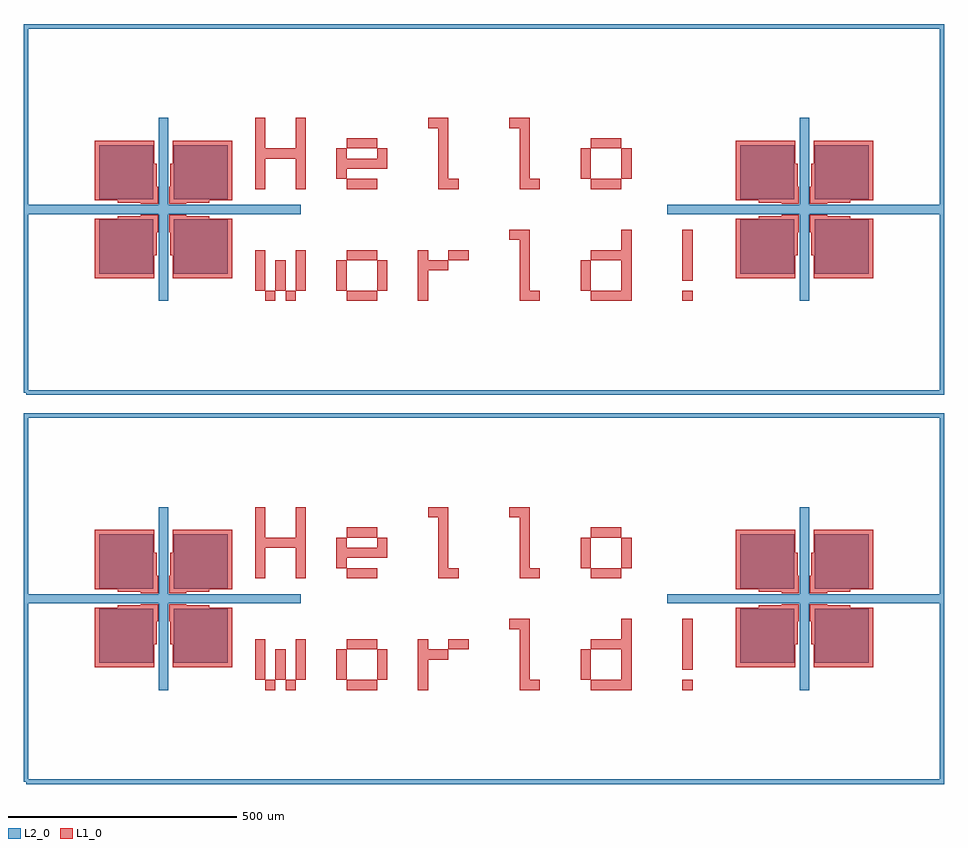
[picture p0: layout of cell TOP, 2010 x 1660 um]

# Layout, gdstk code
import gdstk
lib = gdstk.Library(unit=1e-6, precision=1e-09)
def R(c, l, rs):  # rectangles x0, y0, x1, y1
    for r in rs: c.add(gdstk.rectangle(r[:2], r[2:], *l))
def P(c, l, *ps):  # polygons
    for p in ps: c.add(gdstk.Polygon(p, *l))
L1_0 = (1, 0)
L2_0 = (2, 0)

cont_algn = lib.new_cell('CONT_ALGN')
P(cont_algn, L1_0, [(-12,-12),(-50,-12),(-50,-15),(-100,-15),(-100,-20),(-150,-20),(-150,-150),(-20,-150),(-20,-100),(-15,-100),(-15,-50),(-12,-50)],
  [(12,-12),(12,-50),(15,-50),(15,-100),(20,-100),(20,-150),(150,-150),(150,-20),(100,-20),(100,-15),(50,-15),(50,-12)],
  [(12,12),(12,50),(15,50),(15,100),(20,100),(20,150),(150,150),(150,20),(100,20),(100,15),(50,15),(50,12)],
  [(-12,12),(-50,12),(-50,15),(-100,15),(-100,20),(-150,20),(-150,150),(-20,150),(-20,100),(-15,100),(-15,50),(-12,50)])
R(cont_algn, L2_0, [(-140,-140,-22,-22), (22,-140,140,-22), (-140,22,-22,140), (22,22,140,140)])
P(cont_algn, L2_0, [(-10,-200),(-10,-10),(-300,-10),(-300,10),(-10,10),(-10,200),(10,200),(10,10),(300,10),(300,-10),(10,-10),(10,-200)])

example = lib.new_cell('EXAMPLE')
R(example, L1_0, [(22.222,-200,44.444,-177.778), (66.667,-200,88.889,-177.778), (933.333,-200,955.556,-177.778)])
P(example, L1_0, [(0,44.444),(22.222,44.444),(22.222,66.667),(22.222,88.889),(22.222,111.111),(44.444,111.111),(66.667,111.111),(88.889,111.111),(88.889,88.889),(88.889,66.667),(88.889,44.444),(111.111,44.444),(111.111,66.667),(111.111,88.889),(111.111,111.111),(111.111,133.333),(111.111,155.556),(111.111,177.778),(111.111,200),(88.889,200),(88.889,177.778),(88.889,155.556),(88.889,133.333),(66.667,133.333),(44.444,133.333),(22.222,133.333),(22.222,155.556),(22.222,177.778),(22.222,200),(0,200),(0,177.778),(0,155.556),(0,133.333),(0,111.111),(0,88.889),(0,66.667)],
  [(177.778,66.667),(200,66.667),(200,88.889),(222.222,88.889),(244.444,88.889),(266.667,88.889),(288.889,88.889),(288.889,111.111),(288.889,133.333),(266.667,133.333),(266.667,111.111),(244.444,111.111),(222.222,111.111),(200,111.111),(200,133.333),(177.778,133.333),(177.778,111.111),(177.778,88.889)],
  [(200,44.444),(222.222,44.444),(244.444,44.444),(266.667,44.444),(266.667,66.667),(244.444,66.667),(222.222,66.667),(200,66.667)],
  [(200,133.333),(222.222,133.333),(244.444,133.333),(266.667,133.333),(266.667,155.556),(244.444,155.556),(222.222,155.556),(200,155.556)],
  [(377.778,177.778),(400,177.778),(400,155.556),(400,133.333),(400,111.111),(400,88.889),(400,66.667),(400,44.444),(422.222,44.444),(444.444,44.444),(444.444,66.667),(422.222,66.667),(422.222,88.889),(422.222,111.111),(422.222,133.333),(422.222,155.556),(422.222,177.778),(422.222,200),(400,200),(377.778,200)],
  [(555.556,177.778),(577.778,177.778),(577.778,155.556),(577.778,133.333),(577.778,111.111),(577.778,88.889),(577.778,66.667),(577.778,44.444),(600,44.444),(622.222,44.444),(622.222,66.667),(600,66.667),(600,88.889),(600,111.111),(600,133.333),(600,155.556),(600,177.778),(600,200),(577.778,200),(555.556,200)],
  [(711.111,66.667),(733.333,66.667),(733.333,88.889),(733.333,111.111),(733.333,133.333),(711.111,133.333),(711.111,111.111),(711.111,88.889)],
  [(733.333,44.444),(755.556,44.444),(777.778,44.444),(800,44.444),(800,66.667),(777.778,66.667),(755.556,66.667),(733.333,66.667)],
  [(733.333,133.333),(755.556,133.333),(777.778,133.333),(800,133.333),(800,155.556),(777.778,155.556),(755.556,155.556),(733.333,155.556)],
  [(800,66.667),(822.222,66.667),(822.222,88.889),(822.222,111.111),(822.222,133.333),(800,133.333),(800,111.111),(800,88.889)],
  [(0,-177.778),(22.222,-177.778),(22.222,-155.556),(22.222,-133.333),(22.222,-111.111),(22.222,-88.889),(0,-88.889),(0,-111.111),(0,-133.333),(0,-155.556)],
  [(44.444,-177.778),(66.667,-177.778),(66.667,-155.556),(66.667,-133.333),(66.667,-111.111),(44.444,-111.111),(44.444,-133.333),(44.444,-155.556)],
  [(88.889,-177.778),(111.111,-177.778),(111.111,-155.556),(111.111,-133.333),(111.111,-111.111),(111.111,-88.889),(88.889,-88.889),(88.889,-111.111),(88.889,-133.333),(88.889,-155.556)],
  [(177.778,-177.778),(200,-177.778),(200,-155.556),(200,-133.333),(200,-111.111),(177.778,-111.111),(177.778,-133.333),(177.778,-155.556)],
  [(200,-200),(222.222,-200),(244.444,-200),(266.667,-200),(266.667,-177.778),(244.444,-177.778),(222.222,-177.778),(200,-177.778)],
  [(200,-111.111),(222.222,-111.111),(244.444,-111.111),(266.667,-111.111),(266.667,-88.889),(244.444,-88.889),(222.222,-88.889),(200,-88.889)],
  [(266.667,-177.778),(288.889,-177.778),(288.889,-155.556),(288.889,-133.333),(288.889,-111.111),(266.667,-111.111),(266.667,-133.333),(266.667,-155.556)],
  [(355.556,-200),(377.778,-200),(377.778,-177.778),(377.778,-155.556),(377.778,-133.333),(400,-133.333),(422.222,-133.333),(422.222,-111.111),(400,-111.111),(377.778,-111.111),(377.778,-88.889),(355.556,-88.889),(355.556,-111.111),(355.556,-133.333),(355.556,-155.556),(355.556,-177.778)],
  [(422.222,-111.111),(444.444,-111.111),(466.667,-111.111),(466.667,-88.889),(444.444,-88.889),(422.222,-88.889)],
  [(555.556,-66.667),(577.778,-66.667),(577.778,-88.889),(577.778,-111.111),(577.778,-133.333),(577.778,-155.556),(577.778,-177.778),(577.778,-200),(600,-200),(622.222,-200),(622.222,-177.778),(600,-177.778),(600,-155.556),(600,-133.333),(600,-111.111),(600,-88.889),(600,-66.667),(600,-44.444),(577.778,-44.444),(555.556,-44.444)],
  [(711.111,-177.778),(733.333,-177.778),(733.333,-155.556),(733.333,-133.333),(733.333,-111.111),(711.111,-111.111),(711.111,-133.333),(711.111,-155.556)],
  [(733.333,-200),(755.556,-200),(777.778,-200),(800,-200),(822.222,-200),(822.222,-177.778),(822.222,-155.556),(822.222,-133.333),(822.222,-111.111),(822.222,-88.889),(822.222,-66.667),(822.222,-44.444),(800,-44.444),(800,-66.667),(800,-88.889),(777.778,-88.889),(755.556,-88.889),(733.333,-88.889),(733.333,-111.111),(755.556,-111.111),(777.778,-111.111),(800,-111.111),(800,-133.333),(800,-155.556),(800,-177.778),(777.778,-177.778),(755.556,-177.778),(733.333,-177.778)],
  [(933.333,-155.556),(955.556,-155.556),(955.556,-133.333),(955.556,-111.111),(955.556,-88.889),(955.556,-66.667),(955.556,-44.444),(933.333,-44.444),(933.333,-66.667),(933.333,-88.889),(933.333,-111.111),(933.333,-133.333)])
example.add(gdstk.FlexPath([(-500,-400),(-500,400),(1500,400),(1500,-400),(-500,-400)], 10, ends="flush", simple_path=True, layer=2, datatype=0))  # L2_0
example.add(gdstk.Reference(cont_algn, (-200,0)))
example.add(gdstk.Reference(cont_algn, (1200,0)))

top = lib.new_cell('TOP')
r = gdstk.Reference(example, (0,0)); r.repetition = gdstk.Repetition(1, 2, v1=(0,0), v2=(0,850)); top.add(r)

lib.write_gds('TOP.gds')
